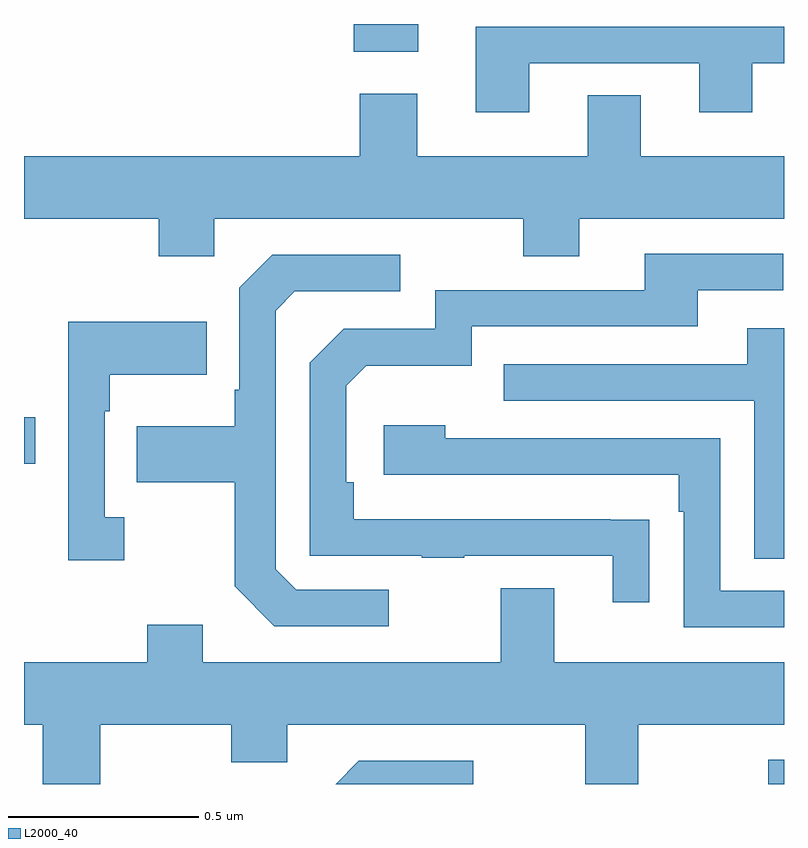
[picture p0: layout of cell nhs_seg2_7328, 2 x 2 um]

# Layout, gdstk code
import gdstk
lib = gdstk.Library(unit=1e-6, precision=1e-09)
def R(c, l, rs):  # rectangles x0, y0, x1, y1
    for r in rs: c.add(gdstk.rectangle(r[:2], r[2:], *l))
def P(c, l, *ps):  # polygons
    for p in ps: c.add(gdstk.Polygon(p, *l))
L2000_40 = (2000, 40)

nhs_seg2_7328 = lib.new_cell('nhs_seg2_7328')
R(nhs_seg2_7328, L2000_40, [(203.958,660.8,204,660.864), (202,661.643,202.03,661.765), (202.868,662.727,203.038,662.8)])
P(nhs_seg2_7328, L2000_40, [(203.329,662.697),(203.777,662.697),(203.777,662.568),(203.917,662.568),(203.917,662.697),(204,662.697),(204,662.793),(203.189,662.793),(203.189,662.568),(203.329,662.568)],
  [(202.5,662.288),(203.314,662.288),(203.314,662.189),(203.461,662.189),(203.461,662.288),(204,662.288),(204,662.452),(203.623,662.452),(203.623,662.612),(203.483,662.612),(203.483,662.452),(203.035,662.452),(203.035,662.617),(202.883,662.617),(202.883,662.452),(202,662.452),(202,662.288),(202.354,662.288),(202.354,662.189),(202.5,662.189)],
  [(203.645,661.496),(203.543,661.496),(203.543,661.497),(202.868,661.497),(202.868,661.594),(202.848,661.594),(202.848,661.848),(202.901,661.901),(203.178,661.901),(203.178,662.004),(203.773,662.004),(203.773,662.1),(203.998,662.1),(203.998,662.196),(203.633,662.196),(203.633,662.1),(203.082,662.1),(203.082,661.998),(202.842,661.998),(202.752,661.908),(202.752,661.401),(203.047,661.401),(203.047,661.396),(203.159,661.396),(203.159,661.401),(203.549,661.401),(203.549,661.278),(203.645,661.278)],
  [(202.96,661.311),(202.716,661.311),(202.662,661.365),(202.662,662.046),(202.713,662.097),(202.99,662.097),(202.99,662.193),(202.653,662.193),(202.566,662.106),(202.566,661.837),(202.554,661.837),(202.554,661.741),(202.297,661.741),(202.297,661.594),(202.554,661.594),(202.554,661.321),(202.659,661.215),(202.96,661.215)],
  [(202.264,661.502),(202.212,661.502),(202.212,661.781),(202.225,661.781),(202.225,661.877),(202.481,661.877),(202.481,662.017),(202.116,662.017),(202.116,661.389),(202.264,661.389)],
  [(204,661.999),(203.903,661.999),(203.903,661.905),(203.263,661.905),(203.263,661.809),(203.922,661.809),(203.922,661.393),(204,661.393)],
  [(204,661.308),(203.832,661.308),(203.832,661.71),(203.108,661.71),(203.108,661.744),(202.947,661.744),(202.947,661.614),(203.723,661.614),(203.723,661.517),(203.736,661.517),(203.736,661.212),(204,661.212)],
  [(202.201,660.956),(202.546,660.956),(202.546,660.857),(202.693,660.857),(202.693,660.956),(203.477,660.956),(203.477,660.8),(203.617,660.8),(203.617,660.956),(204,660.956),(204,661.12),(203.395,661.12),(203.395,661.315),(203.255,661.315),(203.255,661.12),(202.471,661.12),(202.471,661.219),(202.324,661.219),(202.324,661.12),(202,661.12),(202,660.956),(202.049,660.956),(202.049,660.8),(202.201,660.8)],
  [(203.182,660.861),(202.881,660.861),(202.821,660.8),(203.182,660.8)])

lib.write_gds('nhs_seg2_7328.gds')
